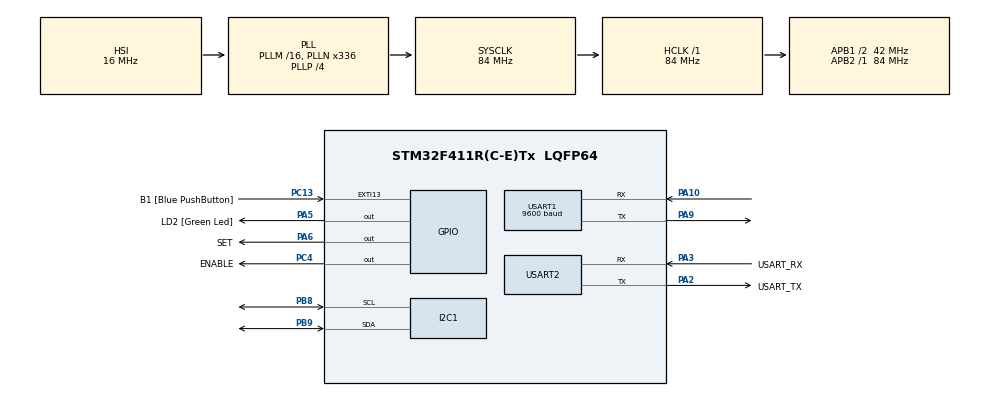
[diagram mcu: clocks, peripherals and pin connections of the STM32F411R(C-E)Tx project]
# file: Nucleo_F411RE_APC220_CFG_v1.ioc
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Mcu.Family=STM32F4
Mcu.Name=STM32F411R(C-E)Tx
Mcu.Package=LQFP64
NVIC.PriorityGroup=NVIC_PRIORITYGROUP_0
NVIC.USART1_IRQn=true\:0\:0\:false\:false\:true\:true\:true\:true
PA10.Mode=Asynchronous
PA10.Signal=USART1_RX
PA13.GPIO_Label=TMS
PA13.Mode=Serial_Wire
PA13.Signal=SYS_JTMS-SWDIO
PA14.GPIO_Label=TCK
PA14.Mode=Serial_Wire
PA14.Signal=SYS_JTCK-SWCLK
PA2.GPIO_Label=USART_TX
PA2.Mode=Asynchronous
PA2.Signal=USART2_TX
PA3.GPIO_Label=USART_RX
PA3.Mode=Asynchronous
PA3.Signal=USART2_RX
PA5.GPIO_Label=LD2 [Green Led]
PA5.Signal=GPIO_Output
PA6.GPIO_Label=SET
PA6.Signal=GPIO_Output
PA9.Mode=Asynchronous
PA9.Signal=USART1_TX
PB3.GPIO_Label=SWO
PB3.Signal=SYS_JTDO-SWO
PB8.Mode=I2C
PB8.Signal=I2C1_SCL
PB9.Mode=I2C
PB9.Signal=I2C1_SDA
PC13-ANTI_TAMP.GPIO_Label=B1 [Blue PushButton]
PC13-ANTI_TAMP.GPIO_ModeDefaultEXTI=GPIO_MODE_IT_FALLING
PC13-ANTI_TAMP.Signal=GPXTI13
PC14-OSC32_IN.Mode=LSE-External-Oscillator
PC14-OSC32_IN.Signal=RCC_OSC32_IN
PC15-OSC32_OUT.Mode=LSE-External-Oscillator
PC15-OSC32_OUT.Signal=RCC_OSC32_OUT
PC4.GPIO_Label=ENABLE
PC4.Signal=GPIO_Output
PH0\ -\ OSC_IN.Mode=HSE-External-Clock-Source
PH0\ -\ OSC_IN.Signal=RCC_OSC_IN
PH1\ -\ OSC_OUT.Mode=HSE-External-Clock-Source
PH1\ -\ OSC_OUT.Signal=RCC_OSC_OUT
ProjectManager.HeapSize=0x200
ProjectManager.StackSize=0x400
ProjectManager.TargetToolchain=STM32CubeIDE
RCC.48MHZClocksFreq_Value=84000000
RCC.AHBFreq_Value=84000000
RCC.APB1CLKDivider=RCC_HCLK_DIV2
RCC.APB1Freq_Value=42000000
RCC.APB1TimFreq_Value=84000000
RCC.APB2Freq_Value=84000000
RCC.APB2TimFreq_Value=84000000
RCC.CortexFreq_Value=84000000
RCC.FLatency-AdvancedSettings=FLASH_LATENCY_2
RCC.HCLKFreq_Value=84000000
RCC.HSE_VALUE=8000000
RCC.HSI_VALUE=16000000
RCC.PLLN=336
RCC.PLLP=RCC_PLLP_DIV4
RCC.SYSCLKFreq_VALUE=84000000
RCC.SYSCLKSource=RCC_SYSCLKSOURCE_PLLCLK
RCC.VCOOutputFreq_Value=336000000
USART1.BaudRate=9600
USART1.VirtualMode=VM_ASYNC
USART2.VirtualMode=VM_ASYNC
board=NUCLEO-F411RE

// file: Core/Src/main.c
/* USER CODE BEGIN Header */
/**
 ******************************************************************************
 * @file           : main.c
 * @brief          : Main program body
 ******************************************************************************
 * @attention
 *
 * Copyright (c) 2022 STMicroelectronics.
 * All rights reserved.
 *
 * This software is licensed under terms that can be found in the LICENSE file
 * in the root directory of this software component.
 * If no LICENSE file comes with this software, it is provided AS-IS.
 *
 ******************************************************************************
 */
/* USER CODE END Header */
#include "main.h"

/* USER CODE BEGIN Includes */
#include <stdio.h>
#include <string.h>
#include "uart.h"
/* USER CODE END Includes */

I2C_HandleTypeDef hi2c1;

UART_HandleTypeDef huart2;

/* USER CODE BEGIN PV */
HAL_StatusTypeDef hal_status = HAL_OK;

char buffer [UART_RX_BUFFER_SIZE];
int len;
/* USER CODE END PV */

void SystemClock_Config(void);
static void MX_GPIO_Init(void);
static void MX_I2C1_Init(void);
static void MX_USART1_UART_Init(void);
static void MX_USART2_UART_Init(void);
/* USER CODE BEGIN PFP */

//static void OnError_Handler(uint32_t condition);
static void StartUartReception(void);
/* USER CODE END PFP */

/* USER CODE BEGIN 0 */
// WARNING UART2 is connected to st-link
// Properties -> Settings -> MCU_Settings -> select use float with printf
/*
 * USART2, BaudRate = 115200, WordLength = UART_WORDLENGTH_8B, StopBits = UART_STOPBITS_1;
 * */
int _write(int file, char *ptr, int len)
{
	HAL_UART_Transmit(&huart2,(uint8_t *)ptr, len, 10);
	return len;
}

/*
int _write(int file, char *ptr, int len)
{
	for (uint8_t i=0; i<len; i++){
		LL_USART_TransmitData8(USART2, ptr[i]);
		while ( !LL_USART_IsActiveFlag_TXE(USART2) ){ ; }
	}
	return len;
}
 */

void UART_Transmit(uint8_t *data, uint16_t length)
{
	// Wait for TXE (transmit data register empty) flag to be set
	while((USART1->SR & USART_SR_TXE) == 0);

	// Write data to the data register
	for(uint16_t i = 0; i < length; i++)
	{
		USART1->DR = data[i];

		// Wait for TC (transmission complete) flag to be set
		while((USART1->SR & USART_SR_TC) == 0);
	}
}

int UART_Receive(char *data, uint16_t max_length)
{
	char c;
	int i = 0;
	data[0]=0;
	do {
		c = uartGetChar();
		if (c == '\r' || c == '\n') break;

		data[i++] = c;
		if (i >= max_length) break;
	}
	while (isUartRxNotEmpty());
	return i;
}

/* USER CODE END 0 */

int main(void)
{

	/* MCU Configuration--------------------------------------------------------*/

	/* Reset of all peripherals, Initializes the Flash interface and the Systick. */
	HAL_Init();

	/* Configure the system clock */
	SystemClock_Config();

	/* Initialize all configured peripherals */
	MX_GPIO_Init();
	MX_I2C1_Init();
	MX_USART1_UART_Init();
	MX_USART2_UART_Init();
	/* USER CODE BEGIN 2 */

	printf("Start ...\n");
	StartUartReception();

	HAL_GPIO_WritePin(ENABLE_GPIO_Port, ENABLE_Pin, GPIO_PIN_SET);
	HAL_GPIO_WritePin(SET_GPIO_Port, SET_Pin, GPIO_PIN_SET);
	HAL_Delay(50); // 50ms at least

	HAL_GPIO_WritePin(SET_GPIO_Port, SET_Pin, GPIO_PIN_RESET); // pulling SET to low will put apc220 in config mode
	HAL_Delay(50); // stabilize please

	/*
  Parameters      Bytes Instruction
  Frequency       6     Unit is KHz,for example 434MHz is 434000.
  Rf data rate    1     1,2,3 and 4 refer to 2400, 4800, 9600, 19200bps separetely.
  Output power    1     from 0 to 9, 9 means 13dBm(20mW).
  UART rate       1     0,1,2,3,4,5 and 6 refers to 1200, 2400, 4800, 9600, 19200, 38400, 57600bps separately.
  Series checkout 1     Series checkout：0 means no check,1 means even parity,2 means odd parity.
	 */

	//len = snprintf ( buffer, 128, "WR 433900 4 9 3 0\r\n"); // ask for data
	len = snprintf ( buffer, 128, "WR 433900 4 9 3 0\r\n"); // ask for data

	printf("RX Flush\n");
	do {
		uartGetChar();
	}
	while (isUartRxNotEmpty());

	UART_Transmit((uint8_t *)buffer, len);
	HAL_Delay(50);

	printf("Write and Read\n");
	do {
		printf("%c", uartGetChar());
	}
	while (isUartRxNotEmpty());
	printf("\n");

	HAL_GPIO_WritePin(SET_GPIO_Port, SET_Pin, GPIO_PIN_SET); // put apc220 back in operation
	HAL_Delay(200);

	HAL_GPIO_WritePin(SET_GPIO_Port, SET_Pin, GPIO_PIN_RESET); // pulling SET to low will put apc220 in config mode
	HAL_Delay(50); // stabilize please

	len = snprintf ( buffer, 128, "RD\r\n"); // ask for data
	UART_Transmit((uint8_t *)buffer, len);
	HAL_Delay(50);

	printf("Read\n");
	do {
		printf("%c", uartGetChar());
	}
	while (isUartRxNotEmpty());
	printf("\n");

	HAL_GPIO_WritePin(SET_GPIO_Port, SET_Pin, GPIO_PIN_SET); // put apc220 back in operation
	HAL_Delay(200);
	/* USER CODE END 2 */

	/* Infinite loop */
	while (1)
	{

		/* USER CODE BEGIN 3 */
		//		len = UART_Receive(buffer, UART_RX_BUFFER_SIZE);
		//		for (int i=0; i<len; i++){
		//			printf("%d", buffer[i]);
		//		}
		//		printf("%s\n", buffer);
		//		if (len) printf("len %d\n");
		while (isUartRxNotEmpty())
			printf("%c", uartGetChar());

	}
	/* USER CODE END 3 */
}

void SystemClock_Config(void)
{
	RCC_OscInitTypeDef RCC_OscInitStruct = {0};
	RCC_ClkInitTypeDef RCC_ClkInitStruct = {0};

	/** Configure the main internal regulator output voltage
	 */
	__HAL_RCC_PWR_CLK_ENABLE();
	__HAL_PWR_VOLTAGESCALING_CONFIG(PWR_REGULATOR_VOLTAGE_SCALE1);

	/** Initializes the RCC Oscillators according to the specified parameters
	 * in the RCC_OscInitTypeDef structure.
	 */
	RCC_OscInitStruct.OscillatorType = RCC_OSCILLATORTYPE_HSI;
	RCC_OscInitStruct.HSIState = RCC_HSI_ON;
	RCC_OscInitStruct.HSICalibrationValue = RCC_HSICALIBRATION_DEFAULT;
	RCC_OscInitStruct.PLL.PLLState = RCC_PLL_ON;
	RCC_OscInitStruct.PLL.PLLSource = RCC_PLLSOURCE_HSI;
	RCC_OscInitStruct.PLL.PLLM = 16;
	RCC_OscInitStruct.PLL.PLLN = 336;
	RCC_OscInitStruct.PLL.PLLP = RCC_PLLP_DIV4;
	RCC_OscInitStruct.PLL.PLLQ = 4;
	if (HAL_RCC_OscConfig(&RCC_OscInitStruct) != HAL_OK)
	{
		Error_Handler();
	}

	/** Initializes the CPU, AHB and APB buses clocks
	 */
	RCC_ClkInitStruct.ClockType = RCC_CLOCKTYPE_HCLK|RCC_CLOCKTYPE_SYSCLK
			|RCC_CLOCKTYPE_PCLK1|RCC_CLOCKTYPE_PCLK2;
	RCC_ClkInitStruct.SYSCLKSource = RCC_SYSCLKSOURCE_PLLCLK;
	RCC_ClkInitStruct.AHBCLKDivider = RCC_SYSCLK_DIV1;
	RCC_ClkInitStruct.APB1CLKDivider = RCC_HCLK_DIV2;
	RCC_ClkInitStruct.APB2CLKDivider = RCC_HCLK_DIV1;

	if (HAL_RCC_ClockConfig(&RCC_ClkInitStruct, FLASH_LATENCY_2) != HAL_OK)
	{
		Error_Handler();
	}
}

static void MX_I2C1_Init(void)
{

	hi2c1.Instance = I2C1;
	hi2c1.Init.ClockSpeed = 100000;
	hi2c1.Init.DutyCycle = I2C_DUTYCYCLE_2;
	hi2c1.Init.OwnAddress1 = 0;
	hi2c1.Init.AddressingMode = I2C_ADDRESSINGMODE_7BIT;
	hi2c1.Init.DualAddressMode = I2C_DUALADDRESS_DISABLE;
	hi2c1.Init.OwnAddress2 = 0;
	hi2c1.Init.GeneralCallMode = I2C_GENERALCALL_DISABLE;
	hi2c1.Init.NoStretchMode = I2C_NOSTRETCH_DISABLE;
	if (HAL_I2C_Init(&hi2c1) != HAL_OK)
	{
		Error_Handler();
	}

}

static void MX_USART1_UART_Init(void)
{

	LL_USART_InitTypeDef USART_InitStruct = {0};

	LL_GPIO_InitTypeDef GPIO_InitStruct = {0};

	/* Peripheral clock enable */
	LL_APB2_GRP1_EnableClock(LL_APB2_GRP1_PERIPH_USART1);

	LL_AHB1_GRP1_EnableClock(LL_AHB1_GRP1_PERIPH_GPIOA);
	/**USART1 GPIO Configuration
  PA9   ------> USART1_TX
  PA10   ------> USART1_RX
	 */
	GPIO_InitStruct.Pin = LL_GPIO_PIN_9|LL_GPIO_PIN_10;
	GPIO_InitStruct.Mode = LL_GPIO_MODE_ALTERNATE;
	GPIO_InitStruct.Speed = LL_GPIO_SPEED_FREQ_VERY_HIGH;
	GPIO_InitStruct.OutputType = LL_GPIO_OUTPUT_PUSHPULL;
	GPIO_InitStruct.Pull = LL_GPIO_PULL_NO;
	GPIO_InitStruct.Alternate = LL_GPIO_AF_7;
	LL_GPIO_Init(GPIOA, &GPIO_InitStruct);

	/* USART1 interrupt Init */
	NVIC_SetPriority(USART1_IRQn, NVIC_EncodePriority(NVIC_GetPriorityGrouping(),0, 0));
	NVIC_EnableIRQ(USART1_IRQn);

	USART_InitStruct.BaudRate = 9600;
	USART_InitStruct.DataWidth = LL_USART_DATAWIDTH_8B;
	USART_InitStruct.StopBits = LL_USART_STOPBITS_1;
	USART_InitStruct.Parity = LL_USART_PARITY_NONE;
	USART_InitStruct.TransferDirection = LL_USART_DIRECTION_TX_RX;
	USART_InitStruct.HardwareFlowControl = LL_USART_HWCONTROL_NONE;
	USART_InitStruct.OverSampling = LL_USART_OVERSAMPLING_16;
	LL_USART_Init(USART1, &USART_InitStruct);
	LL_USART_ConfigAsyncMode(USART1);
	LL_USART_Enable(USART1);

}

static void MX_USART2_UART_Init(void)
{

	huart2.Instance = USART2;
	huart2.Init.BaudRate = 115200;
	huart2.Init.WordLength = UART_WORDLENGTH_8B;
	huart2.Init.StopBits = UART_STOPBITS_1;
	huart2.Init.Parity = UART_PARITY_NONE;
	huart2.Init.Mode = UART_MODE_TX_RX;
	huart2.Init.HwFlowCtl = UART_HWCONTROL_NONE;
	huart2.Init.OverSampling = UART_OVERSAMPLING_16;
	if (HAL_UART_Init(&huart2) != HAL_OK)
	{
		Error_Handler();
	}

}

static void MX_GPIO_Init(void)
{
	GPIO_InitTypeDef GPIO_InitStruct = {0};

	/* GPIO Ports Clock Enable */
	__HAL_RCC_GPIOC_CLK_ENABLE();
	__HAL_RCC_GPIOH_CLK_ENABLE();
	__HAL_RCC_GPIOA_CLK_ENABLE();
	__HAL_RCC_GPIOB_CLK_ENABLE();

	/*Configure GPIO pin Output Level */
	HAL_GPIO_WritePin(GPIOA, LD2_Pin|SET_Pin, GPIO_PIN_RESET);

	/*Configure GPIO pin Output Level */
	HAL_GPIO_WritePin(ENABLE_GPIO_Port, ENABLE_Pin, GPIO_PIN_RESET);

	/*Configure GPIO pin : B1_Pin */
	GPIO_InitStruct.Pin = B1_Pin;
	GPIO_InitStruct.Mode = GPIO_MODE_IT_FALLING;
	GPIO_InitStruct.Pull = GPIO_NOPULL;
	HAL_GPIO_Init(B1_GPIO_Port, &GPIO_InitStruct);

	/*Configure GPIO pins : LD2_Pin SET_Pin */
	GPIO_InitStruct.Pin = LD2_Pin|SET_Pin;
	GPIO_InitStruct.Mode = GPIO_MODE_OUTPUT_PP;
	GPIO_InitStruct.Pull = GPIO_NOPULL;
	GPIO_InitStruct.Speed = GPIO_SPEED_FREQ_LOW;
	HAL_GPIO_Init(GPIOA, &GPIO_InitStruct);

	/*Configure GPIO pin : ENABLE_Pin */
	GPIO_InitStruct.Pin = ENABLE_Pin;
	GPIO_InitStruct.Mode = GPIO_MODE_OUTPUT_PP;
	GPIO_InitStruct.Pull = GPIO_NOPULL;
	GPIO_InitStruct.Speed = GPIO_SPEED_FREQ_LOW;
	HAL_GPIO_Init(ENABLE_GPIO_Port, &GPIO_InitStruct);

}

/* USER CODE BEGIN 4 */

/**
 * @brief  On Error Handler on condition TRUE.
 * @param  condition : Can be TRUE or FALSE
 * @retval None
 */
//static void OnError_Handler(uint32_t condition)
//{
//	if(condition)
//	{
//	    HAL_GPIO_WritePin(LD2_GPIO_Port, LD2_Pin, GPIO_PIN_SET);
//		while(1) { ; } /* Blocking on error */
//	}
//}

/**
 * @brief  This function prints user info on PC com port and initiates RX transfer
 * @param  None
 * @retval None
 */
void StartUartReception(void)
{
	uartTxFlush();

	/* Clear Overrun flag, in case characters have already been sent to USART */
	LL_USART_ClearFlag_ORE(USART1);

	/* Enable RXNE and Error interrupts */
	LL_USART_EnableIT_RXNE(USART1);
	LL_USART_EnableIT_ERROR(USART1);
}

/* USER CODE END 4 */

void Error_Handler(void)
{
	/* USER CODE BEGIN Error_Handler_Debug */
	/* User can add his own implementation to report the HAL error return state */
	__disable_irq();
	HAL_GPIO_WritePin(LD2_GPIO_Port, LD2_Pin, GPIO_PIN_SET);
	while (1)
	{
	}
	/* USER CODE END Error_Handler_Debug */
}
